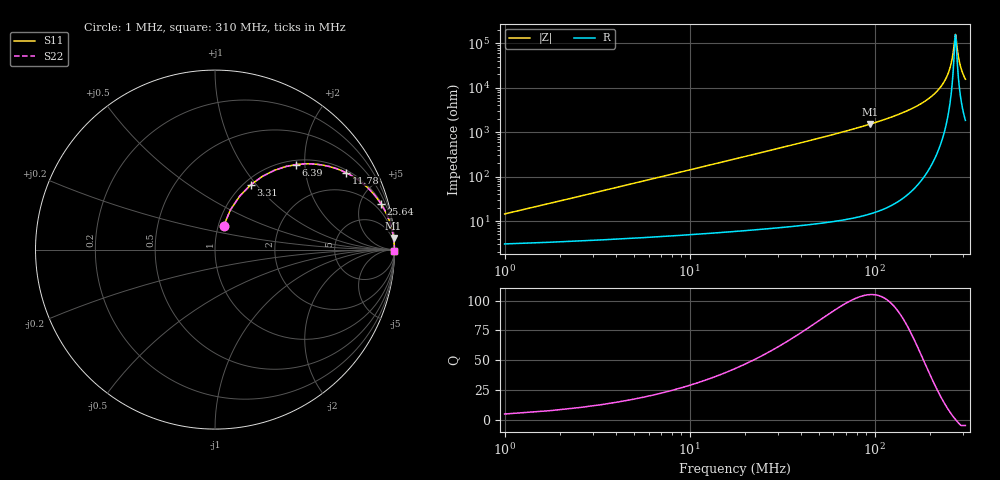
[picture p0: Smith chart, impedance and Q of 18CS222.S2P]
! Coilcraft 1812CS-222 Chip Inductor
! 31 July 2002
# MHZ S MA R 50
!Freq  MagS11  AngS11  MagS21  AngS21  MagS12  AngS12  MagS22  AngS22
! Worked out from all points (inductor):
!   403 points, 1 MHz to 310 MHz, reference 50 ohm
!   read as one part in series: L = 2.25 uH near 2.54 MHz
!   highest Q = 105 at 94.94 MHz (marker M1), where L = 2.56 uH
!   self-resonance near 273.6 MHz
!   S11 on the Smith chart (normalised r, x): 1 MHz: 1.06, +0.28; 3.31 MHz: 1.08, +0.94; 6.39 MHz: 1.09, +1.81; 11.78 MHz: 1.10, +3.34; 25.64 MHz: 1.13, +7.31; 310 MHz: open
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1  0.1391 70.0  0.9613 -7.8  0.9613 -7.8  0.1391 70.0
3.31  0.4125 61.1  0.8785 -24.3  0.8785 -24.3  0.4125 61.1
4.85  0.5512 53.2  0.8022 -33.4  0.8022 -33.4  0.5512 53.2
6.39  0.6554 46.3  0.7243 -40.9  0.7243 -40.9  0.6554 46.3
11.78  0.8464 30.5  0.507 -57.8  0.507 -57.8  0.8464 30.5
17.17  0.9175 22.1  0.3764 -66.5  0.3764 -66.5  0.9175 22.1
25.64  0.9602 15.2  0.2625 -73.7  0.2625 -73.7  0.9602 15.2
52.59  0.9902 7.4  0.1283 -82.0  0.1283 -82.0  0.9902 7.4
94.94  0.9972 3.7  0.06538 -85.7  0.06538 -85.7  0.9972 3.7
104.18  0.9978 3.3  0.05795 -86.1  0.05795 -86.1  0.9978 3.3
155.77  0.9991 1.8  0.03071 -87.5  0.03071 -87.5  0.9991 1.8
207.36  0.9994 0.8  0.01457 -87.4  0.01457 -87.4  0.9994 0.8
238.93  0.9995 0.4  0.007109 -85.4  0.007109 -85.4  0.9995 0.4
250.48  0.9994 0.3  0.004671 -82.9  0.004671 -82.9  0.9994 0.3
258.95  0.9994 0.2  0.002975 -78.6  0.002975 -78.6  0.9994 0.2
265.88  0.9994 0.1  0.001667 -68.8  0.001667 -68.8  0.9994 0.1
272.04  0.9994 0.0  0.0007245 -31.0  0.0007245 -31.0  0.9994 0.0
274.35  0.9994 -0.0  0.0006321 5.7  0.0006321 5.7  0.9994 -0.0
282.05  0.9993 -0.1  0.001629 66.2  0.001629 66.2  0.9993 -0.1
288.21  0.9993 -0.1  0.002692 75.3  0.002692 75.3  0.9993 -0.1
297.45  0.9993 -0.2  0.004296 80.2  0.004296 80.2  0.9993 -0.2
310  0.9992 -0.4  0.006423 82.8  0.006423 82.8  0.9992 -0.4
